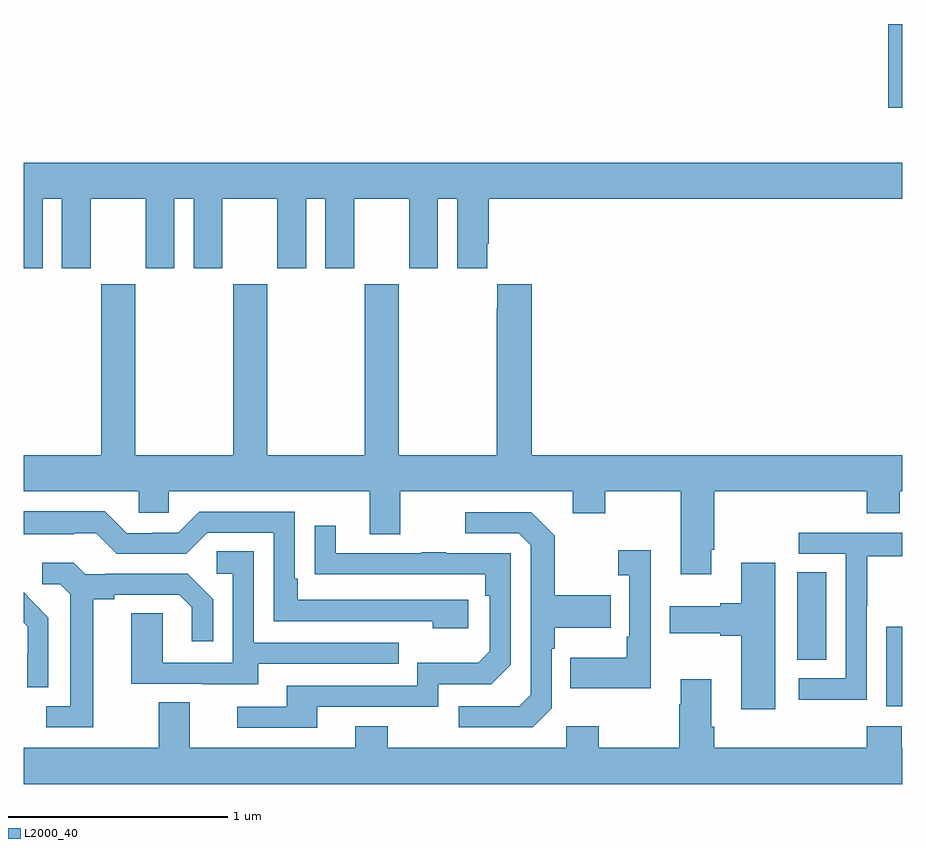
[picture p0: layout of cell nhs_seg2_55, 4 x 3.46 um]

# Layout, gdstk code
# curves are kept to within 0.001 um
import gdstk
lib = gdstk.Library(unit=1e-6, precision=1e-09)
def R(c, l, rs):  # rectangles x0, y0, x1, y1
    for r in rs: c.add(gdstk.rectangle(r[:2], r[2:], *l))
def P(c, l, *ps):  # polygons
    for p in ps: c.add(gdstk.Polygon(p, *l))
L2000_40 = (2000, 40)

nhs_seg2_55 = lib.new_cell('nhs_seg2_55')
R(nhs_seg2_55, L2000_40, [(116.927,614.69,117,615.051), (116.522,614.902,116.653,615.299), (116.936,617.415,117,617.796)])
P(nhs_seg2_55, L2000_40, [(113.086,617),(113.174,617),(113.174,616.683),(113.305,616.683),(113.305,617),(113.555,617),(113.555,616.683),(113.686,616.683),(113.686,617),(113.774,617),(113.774,616.683),(113.905,616.683),(113.905,617),(114.155,617),(114.155,616.683),(114.286,616.683),(114.286,617),(114.374,617),(114.374,616.683),(114.505,616.683),(114.505,617),(114.755,617),(114.755,616.683),(114.886,616.683),(114.886,617),(114.974,617),(114.974,616.683),(115.111,616.683),(115.111,616.795),(115.118,616.795),(115.118,617),(117,617),(117,617.164),(113,617.164),(113,616.683),(113.086,616.683)],
  [(116.131,615.403),(116.144,615.403),(116.144,615.668),(116.837,615.668),(116.837,615.569),(116.989,615.569),(116.989,615.668),(117,615.668),(117,615.832),(115.313,615.832),(115.313,616.612),(115.157,616.612),(115.157,616.499),(115.153,616.499),(115.153,615.832),(114.708,615.832),(114.708,616.612),(114.553,616.612),(114.553,615.832),(114.108,615.832),(114.108,616.612),(113.953,616.612),(113.953,615.832),(113.508,615.832),(113.508,616.612),(113.353,616.612),(113.353,615.832),(113,615.832),(113,615.668),(113.523,615.668),(113.523,615.57),(113.661,615.57),(113.661,615.668),(114.575,615.668),(114.575,615.474),(114.715,615.474),(114.715,615.668),(115.499,615.668),(115.499,615.569),(115.647,615.569),(115.647,615.668),(115.991,615.668),(115.991,615.291),(116.131,615.291)],
  [(115.024,615.174),(114.247,615.174),(114.247,615.271),(114.234,615.271),(114.234,615.576),(113.799,615.576),(113.703,615.48),(113.585,615.48),(113.585,615.477),(113.469,615.477),(113.369,615.577),(113,615.577),(113,615.473),(113.231,615.473),(113.231,615.477),(113.331,615.477),(113.424,615.384),(113.739,615.384),(113.835,615.48),(114.138,615.48),(114.138,615.078),(114.863,615.078),(114.863,615.044),(115.024,615.044)],
  [(115.404,614.682),(115.404,614.951),(115.417,614.951),(115.417,615.047),(115.673,615.047),(115.673,615.195),(115.417,615.195),(115.417,615.467),(115.311,615.573),(115.011,615.573),(115.011,615.477),(115.254,615.477),(115.308,615.423),(115.308,614.742),(115.257,614.691),(114.981,614.691),(114.981,614.595),(115.317,614.595)],
  [(114.337,614.688),(114.888,614.688),(114.888,614.79),(115.128,614.79),(115.218,614.88),(115.218,615.387),(114.923,615.387),(114.923,615.392),(114.811,615.392),(114.811,615.387),(114.421,615.387),(114.421,615.511),(114.325,615.511),(114.325,615.292),(115.102,615.291),(115.102,615.194),(115.122,615.194),(115.122,614.94),(115.069,614.887),(114.792,614.887),(114.792,614.784),(114.197,614.784),(114.197,614.688),(113.973,614.688),(113.973,614.592),(114.337,614.592)],
  [(116.838,615.148),(116.841,615.148),(116.841,615.372),(117,615.372),(117,615.48),(116.529,615.48),(116.529,615.384),(116.742,615.384),(116.742,614.817),(116.529,614.817),(116.529,614.719),(116.838,614.719)],
  [(115.854,615.4),(115.707,615.4),(115.707,615.287),(115.758,615.287),(115.758,615.007),(115.746,615.007),(115.746,614.911),(115.489,614.911),(115.489,614.771),(115.854,614.771)],
  [(114.067,614.883),(114.707,614.883),(114.707,614.979),(114.048,614.979),(114.048,615.395),(113.88,615.395),(113.88,615.294),(113.952,615.294),(113.952,614.889),(113.634,614.889),(113.634,615.113),(113.489,615.113),(113.489,614.793),(113.813,614.793),(113.813,614.789),(114.067,614.789)],
  [(116.422,615.343),(116.267,615.343),(116.267,615.158),(116.171,615.158),(116.171,615.145),(115.941,615.145),(115.941,615.023),(116.171,615.023),(116.171,615.011),(116.267,615.011),(116.267,614.676),(116.422,614.676)],
  [(113.317,615.176),(113.413,615.176),(113.413,615.198),(113.708,615.198),(113.765,615.141),(113.765,614.985),(113.862,614.985),(113.862,615.178),(113.746,615.294),(113.374,615.294),(113.374,615.291),(113.28,615.291),(113.228,615.343),(113.085,615.343),(113.085,615.246),(113.166,615.246),(113.213,615.199),(113.213,614.691),(113.103,614.691),(113.103,614.595),(113.317,614.595)],
  [(113.112,615.094),(113.039,615.167),(113.04,615.168),(113,615.208),(113,615.071),(113.018,615.053),(113.018,614.93),(113.016,614.93),(113.016,614.776),(113.112,614.776)],
  [(117,614.5),(116.997,614.5),(116.997,614.599),(116.837,614.599),(116.837,614.5),(116.144,614.5),(116.144,614.596),(116.131,614.596),(116.131,614.812),(115.991,614.812),(115.991,614.699),(115.984,614.699),(115.984,614.5),(115.617,614.5),(115.617,614.599),(115.47,614.599),(115.47,614.5),(114.657,614.5),(114.657,614.599),(114.509,614.599),(114.509,614.5),(113.755,614.5),(113.755,614.708),(113.615,614.708),(113.615,614.5),(113,614.5),(113,614.336),(117,614.336)])

lib.write_gds('nhs_seg2_55.gds')
